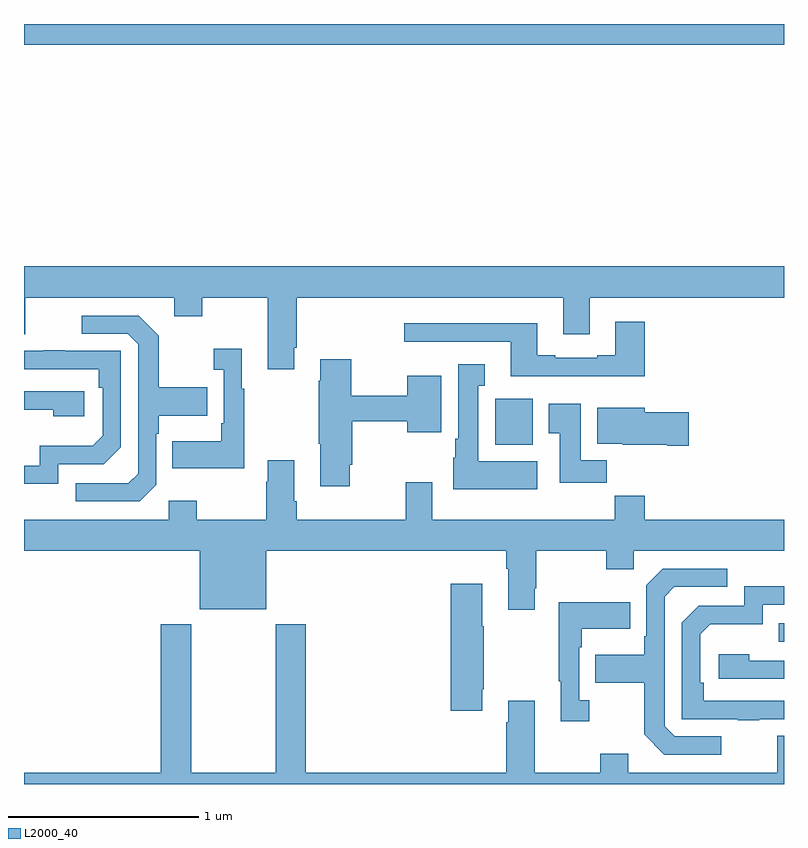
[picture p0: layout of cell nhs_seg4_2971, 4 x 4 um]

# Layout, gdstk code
import gdstk
lib = gdstk.Library(unit=1e-6, precision=1e-09)
def R(c, l, rs):  # rectangles x0, y0, x1, y1
    for r in rs: c.add(gdstk.rectangle(r[:2], r[2:], *l))
def P(c, l, *ps):  # polygons
    for p in ps: c.add(gdstk.Polygon(p, *l))
L2000_40 = (2000, 40)

nhs_seg4_2971 = lib.new_cell('nhs_seg4_2971')
R(nhs_seg4_2971, L2000_40, [(270.973,821.649,271,821.745), (269.48,822.686,269.677,822.928), (267,824.792,271,824.9)])
P(nhs_seg4_2971, L2000_40, [(267,823.266),(267.007,823.266),(267.007,823.46),(267.791,823.46),(267.791,823.361),(267.939,823.361),(267.939,823.46),(268.283,823.46),(268.283,823.083),(268.423,823.083),(268.423,823.195),(268.436,823.195),(268.436,823.46),(269.837,823.46),(269.837,823.266),(269.977,823.266),(269.977,823.46),(271,823.46),(271,823.624),(267,823.624)],
  [(267.696,822.474),(267.696,822.743),(267.709,822.743),(267.709,822.839),(267.965,822.839),(267.965,822.987),(267.709,822.987),(267.709,823.259),(267.603,823.365),(267.303,823.365),(267.303,823.269),(267.546,823.269),(267.6,823.215),(267.6,822.534),(267.549,822.483),(267.273,822.483),(267.273,822.387),(267.609,822.387)],
  [(270.266,823.333),(270.113,823.333),(270.113,823.156),(270.017,823.156),(270.017,823.143),(269.797,823.143),(269.797,823.156),(269.701,823.156),(269.701,823.324),(269.001,823.324),(269.001,823.227),(269.561,823.227),(269.561,823.046),(270.266,823.046)],
  [(268.159,822.979),(268.147,822.979),(268.147,823.192),(267.999,823.192),(267.999,823.079),(268.05,823.079),(268.05,822.799),(268.038,822.799),(268.038,822.703),(267.781,822.703),(267.781,822.563),(268.159,822.563)],
  [(267.18,822.582),(267.42,822.582),(267.51,822.672),(267.51,823.179),(267.215,823.179),(267.215,823.184),(267.103,823.184),(267.103,823.179),(267,823.179),(267,823.083),(267.394,823.083),(267.394,822.986),(267.414,822.986),(267.414,822.732),(267.361,822.679),(267.084,822.679),(267.084,822.576),(267,822.576),(267,822.48),(267.18,822.48)],
  [(268.714,822.58),(268.727,822.58),(268.727,822.808),(269.018,822.808),(269.018,822.752),(269.197,822.752),(269.197,823.048),(269.018,823.048),(269.018,822.944),(268.722,822.944),(268.722,823.135),(268.559,823.135),(268.559,823.022),(268.552,823.022),(268.552,822.691),(268.559,822.691),(268.559,822.468),(268.714,822.468)],
  [(269.701,822.598),(269.392,822.598),(269.392,822.995),(269.425,822.995),(269.425,823.108),(269.285,823.108),(269.285,822.718),(269.27,822.718),(269.27,822.618),(269.258,822.618),(269.258,822.452),(269.701,822.452)],
  [(267.316,822.966),(267,822.966),(267,822.87),(267.155,822.87),(267.155,822.836),(267.316,822.836)],
  [(270.068,822.604),(269.929,822.604),(269.929,822.901),(269.762,822.901),(269.762,822.745),(269.819,822.745),(269.819,822.486),(270.068,822.486)],
  [(270.499,822.857),(270.268,822.857),(270.268,822.88),(270.017,822.88),(270.017,822.692),(270.15,822.692),(270.15,822.686),(270.386,822.686),(270.386,822.679),(270.499,822.679)],
  [(269.689,821.929),(269.697,821.929),(269.697,822.128),(270.064,822.128),(270.064,822.029),(270.21,822.029),(270.21,822.128),(271,822.128),(271,822.292),(270.266,822.292),(270.266,822.416),(270.109,822.416),(270.109,822.292),(269.149,822.292),(269.149,822.487),(269.009,822.487),(269.009,822.292),(268.436,822.292),(268.436,822.388),(268.423,822.388),(268.423,822.604),(268.283,822.604),(268.283,822.491),(268.276,822.491),(268.276,822.292),(267.909,822.292),(267.909,822.391),(267.762,822.391),(267.762,822.292),(267,822.292),(267,822.128),(267.926,822.128),(267.926,821.819),(268.276,821.819),(268.276,822.128),(269.537,822.128),(269.537,822.032),(269.549,822.032),(269.549,821.817),(269.689,821.817)],
  [(270.67,821.151),(270.426,821.151),(270.372,821.205),(270.372,821.886),(270.423,821.937),(270.7,821.937),(270.7,822.033),(270.363,822.033),(270.276,821.946),(270.276,821.677),(270.264,821.677),(270.264,821.581),(270.007,821.581),(270.007,821.434),(270.264,821.434),(270.264,821.161),(270.369,821.055),(270.67,821.055)],
  [(269.413,821.398),(269.421,821.398),(269.421,821.729),(269.413,821.729),(269.413,821.953),(269.246,821.953),(269.246,821.286),(269.413,821.286)],
  [(270.869,821.241),(271,821.241),(271,821.337),(270.578,821.337),(270.578,821.434),(270.558,821.434),(270.558,821.688),(270.611,821.741),(270.888,821.741),(270.888,821.844),(271,821.844),(271,821.94),(270.792,821.94),(270.792,821.838),(270.552,821.838),(270.462,821.748),(270.462,821.241),(270.757,821.241),(270.757,821.236),(270.869,821.236)],
  [(269.974,821.342),(269.922,821.342),(269.922,821.621),(269.935,821.621),(269.935,821.717),(270.191,821.717),(270.191,821.857),(269.814,821.857),(269.814,821.441),(269.825,821.441),(269.825,821.229),(269.974,821.229)],
  [(271,821.155),(270.965,821.155),(270.965,820.96),(270.181,820.96),(270.181,821.059),(270.034,821.059),(270.034,820.96),(269.689,820.96),(269.689,821.338),(269.549,821.338),(269.549,821.225),(269.537,821.225),(269.537,820.96),(268.484,820.96),(268.484,821.74),(268.324,821.74),(268.324,820.96),(267.879,820.96),(267.879,821.74),(267.719,821.74),(267.719,820.96),(267,820.96),(267,820.9),(271,820.9)],
  [(271,821.55),(270.818,821.55),(270.818,821.584),(270.657,821.584),(270.657,821.454),(271,821.454)])

lib.write_gds('nhs_seg4_2971.gds')
